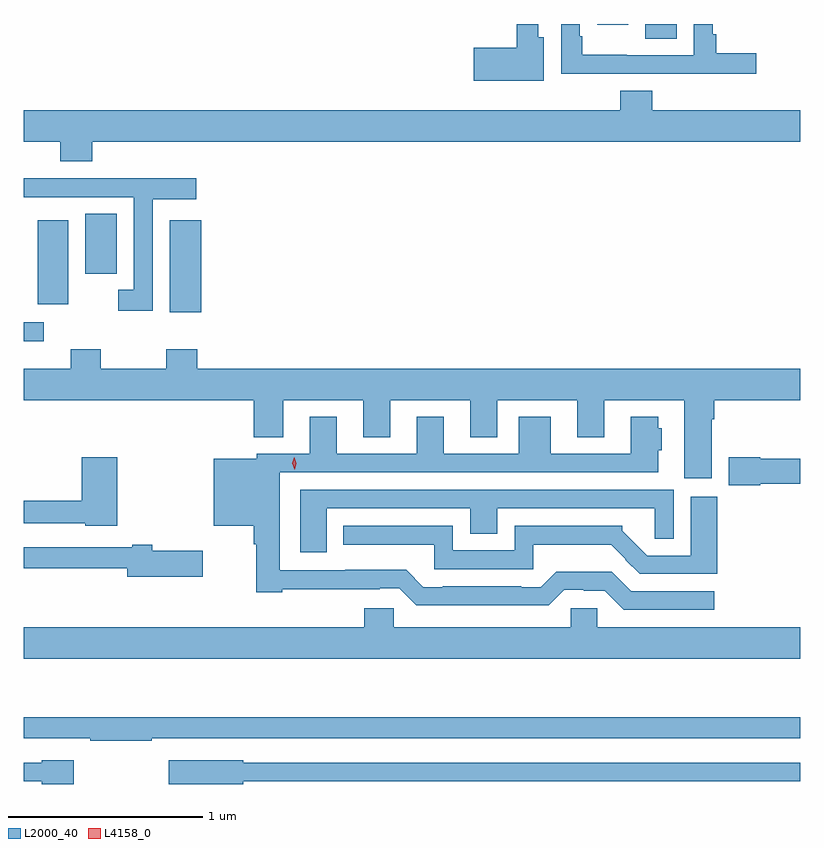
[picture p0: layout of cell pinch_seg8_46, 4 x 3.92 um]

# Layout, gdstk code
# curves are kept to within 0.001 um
import gdstk
lib = gdstk.Library(unit=1e-6, precision=1e-09)
def R(c, l, rs):  # rectangles x0, y0, x1, y1
    for r in rs: c.add(gdstk.rectangle(r[:2], r[2:], *l))
def P(c, l, *ps):  # polygons
    for p in ps: c.add(gdstk.Polygon(p, *l))
L2000_40 = (2000, 40)
L4158_0 = (4158, 0)

pinch_seg8_46 = lib.new_cell('pinch_seg8_46')
R(pinch_seg8_46, L2000_40, [(981.771,1135.454,981.874,1135.551), (982.523,1135.602,982.684,1136.077), (981.842,1135.644,982,1136.077), (982.088,1135.8,982.249,1136.111), (984.974,1137.013,985.135,1137.088), (984.725,1137.083,984.886,1137.088)])
P(pinch_seg8_46, L2000_40, [(984.451,1137.019),(984.421,1137.019),(984.421,1137.088),(984.31,1137.088),(984.31,1136.966),(984.09,1136.966),(984.09,1136.795),(984.451,1136.795)],
  [(984.761,1136.832),(985.127,1136.832),(985.127,1136.831),(985.546,1136.831),(985.546,1136.938),(985.34,1136.938),(985.34,1137.034),(985.32,1137.034),(985.32,1137.088),(985.224,1137.088),(985.224,1136.928),(984.878,1136.928),(984.878,1136.929),(984.649,1136.929),(984.649,1137.025),(984.636,1137.025),(984.636,1137.088),(984.54,1137.088),(984.54,1136.831),(984.761,1136.831)],
  [(982.124,1136.48),(985.771,1136.48),(985.771,1136.644),(985.01,1136.644),(985.01,1136.743),(984.845,1136.743),(984.845,1136.644),(981.771,1136.644),(981.771,1136.48),(981.959,1136.48),(981.959,1136.381),(982.124,1136.381)],
  [(982.434,1136.186),(982.66,1136.186),(982.66,1136.294),(982.241,1136.294),(982.241,1136.292),(981.875,1136.292),(981.875,1136.294),(981.771,1136.294),(981.771,1136.196),(982.338,1136.196),(982.338,1135.719),(982.257,1135.719),(982.257,1135.611),(982.434,1135.611)],
  [(985.315,1135.052),(985.328,1135.052),(985.328,1135.148),(985.771,1135.148),(985.771,1135.312),(982.664,1135.312),(982.664,1135.411),(982.504,1135.411),(982.504,1135.312),(982.167,1135.312),(982.167,1135.411),(982.012,1135.411),(982.012,1135.312),(981.771,1135.312),(981.771,1135.148),(982.955,1135.148),(982.955,1134.958),(983.107,1134.958),(983.107,1135.148),(983.519,1135.148),(983.519,1134.958),(983.659,1134.958),(983.659,1135.148),(984.071,1135.148),(984.071,1134.958),(984.211,1134.958),(984.211,1135.148),(984.623,1135.148),(984.623,1134.958),(984.763,1134.958),(984.763,1135.148),(985.175,1135.148),(985.175,1134.747),(985.315,1134.747)],
  [(985.33,1134.165),(984.9,1134.165),(984.801,1134.264),(984.657,1134.264),(984.657,1134.266),(984.515,1134.266),(984.435,1134.186),(984.335,1134.186),(984.335,1134.189),(983.929,1134.189),(983.929,1134.186),(983.829,1134.186),(983.741,1134.275),(983.428,1134.275),(983.428,1134.273),(983.089,1134.273),(983.089,1134.777),(985.039,1134.777),(985.039,1134.891),(985.057,1134.891),(985.057,1135.005),(985.039,1135.005),(985.039,1135.063),(984.899,1135.063),(984.899,1134.873),(984.487,1134.873),(984.487,1135.063),(984.32,1135.063),(984.32,1134.873),(983.935,1134.873),(983.935,1135.063),(983.795,1135.063),(983.795,1134.873),(983.383,1134.873),(983.383,1135.063),(983.243,1135.063),(983.243,1134.873),(982.971,1134.873),(982.971,1134.847),(982.748,1134.847),(982.748,1134.503),(982.955,1134.503),(982.955,1134.407),(982.967,1134.407),(982.967,1134.158),(983.103,1134.158),(983.103,1134.176),(983.606,1134.176),(983.606,1134.18),(983.706,1134.18),(983.794,1134.092),(984.476,1134.092),(984.555,1134.171),(984.657,1134.171),(984.657,1134.168),(984.764,1134.168),(984.863,1134.069),(985.33,1134.069)],
  [(982.253,1134.856),(982.07,1134.856),(982.07,1134.632),(981.771,1134.632),(981.771,1134.516),(982.086,1134.516),(982.086,1134.503),(982.253,1134.503)],
  [(985.566,1134.718),(985.771,1134.718),(985.771,1134.847),(985.566,1134.847),(985.566,1134.855),(985.404,1134.855),(985.404,1134.71),(985.566,1134.71)],
  [(983.332,1134.591),(984.071,1134.591),(984.071,1134.46),(984.211,1134.46),(984.211,1134.591),(985.023,1134.591),(985.023,1134.436),(985.119,1134.436),(985.119,1134.687),(983.195,1134.687),(983.195,1134.366),(983.332,1134.366)],
  [(985.343,1134.652),(985.208,1134.652),(985.208,1134.348),(984.984,1134.348),(984.855,1134.477),(984.855,1134.501),(984.3,1134.501),(984.3,1134.375),(983.982,1134.375),(983.982,1134.501),(983.417,1134.501),(983.417,1134.404),(983.886,1134.404),(983.886,1134.279),(984.396,1134.279),(984.396,1134.404),(984.799,1134.404),(984.873,1134.33),(984.871,1134.328),(984.944,1134.255),(985.343,1134.255)],
  [(982.693,1134.374),(982.432,1134.374),(982.432,1134.403),(982.328,1134.403),(982.328,1134.39),(981.771,1134.39),(981.771,1134.282),(982.304,1134.282),(982.304,1134.239),(982.693,1134.239)],
  [(985.771,1133.98),(984.726,1133.98),(984.726,1134.078),(984.588,1134.078),(984.588,1133.98),(983.676,1133.98),(983.676,1134.078),(983.525,1134.078),(983.525,1133.98),(981.771,1133.98),(981.771,1133.816),(985.771,1133.816)],
  [(982.43,1133.406),(985.771,1133.406),(985.771,1133.515),(981.771,1133.515),(981.771,1133.406),(982.114,1133.406),(982.114,1133.394),(982.43,1133.394)],
  [(982.027,1133.293),(981.864,1133.293),(981.864,1133.28),(981.771,1133.28),(981.771,1133.184),(981.864,1133.184),(981.864,1133.171),(982.027,1133.171)],
  [(982.902,1133.184),(985.771,1133.184),(985.771,1133.28),(982.902,1133.28),(982.902,1133.293),(982.518,1133.293),(982.518,1133.171),(982.902,1133.171)])
P(pinch_seg8_46, L4158_0, [(983.166,1134.791),(983.166,1134.791),(983.155,1134.823),(983.164,1134.856),(983.164,1134.856),(983.164,1134.856),(983.175,1134.824),(983.167,1134.791)])

lib.write_gds('pinch_seg8_46.gds')
